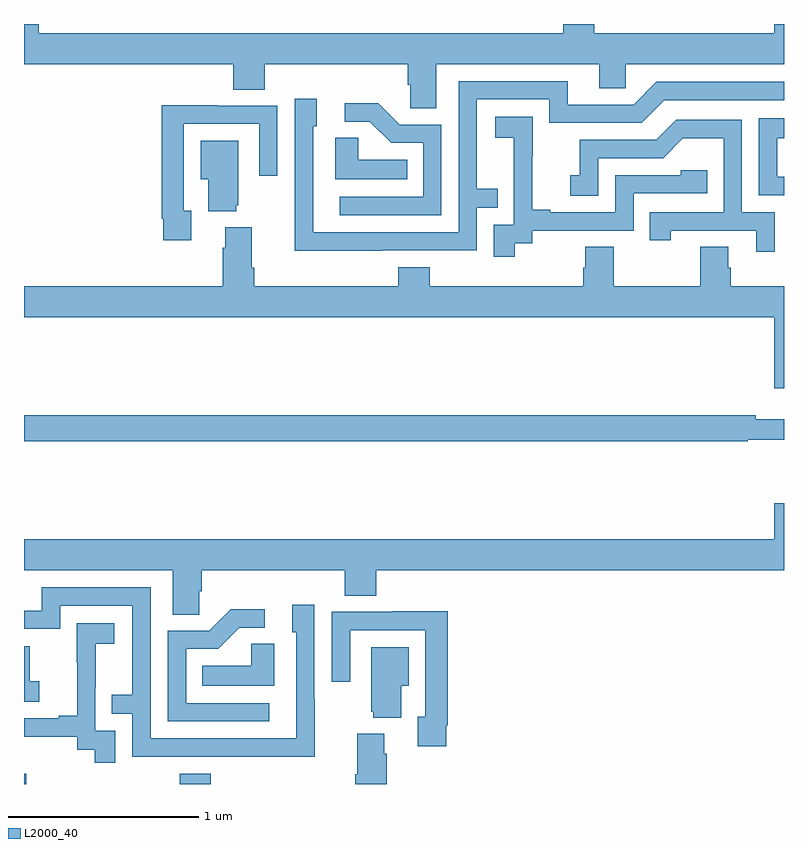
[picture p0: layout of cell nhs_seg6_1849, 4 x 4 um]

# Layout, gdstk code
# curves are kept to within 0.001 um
import gdstk
lib = gdstk.Library(unit=1e-6, precision=1e-09)
def R(c, l, rs):  # rectangles x0, y0, x1, y1
    for r in rs: c.add(gdstk.rectangle(r[:2], r[2:], *l))
def P(c, l, *ps):  # polygons
    for p in ps: c.add(gdstk.Polygon(p, *l))
L2000_40 = (2000, 40)

nhs_seg6_1849 = lib.new_cell('nhs_seg6_1849')
R(nhs_seg6_1849, L2000_40, [(221,991.5,221.012,991.554), (221.819,991.5,221.984,991.555)])
P(nhs_seg6_1849, L2000_40, [(225,995.5),(224.948,995.5),(224.948,995.452),(224.002,995.452),(224.002,995.5),(223.838,995.5),(223.838,995.452),(221.078,995.452),(221.078,995.5),(221,995.5),(221,995.288),(222.101,995.288),(222.101,995.155),(222.266,995.155),(222.266,995.288),(223.019,995.288),(223.019,995.179),(223.032,995.179),(223.032,995.056),(223.171,995.056),(223.171,995.288),(224.027,995.288),(224.027,995.161),(224.166,995.161),(224.166,995.288),(225,995.288)],
  [(222.887,994.308),(223.383,994.308),(223.383,994.533),(223.493,994.533),(223.493,994.634),(223.383,994.634),(223.383,995.103),(223.764,995.103),(223.764,994.98),(224.25,994.98),(224.37,995.1),(225,995.1),(225,995.196),(224.328,995.196),(224.208,995.076),(223.861,995.076),(223.861,995.199),(223.287,995.199),(223.287,994.404),(222.522,994.404),(222.522,994.962),(222.541,994.962),(222.541,995.107),(222.426,995.107),(222.426,994.613),(222.424,994.613),(222.424,994.307)],
  [(223.197,994.971),(222.978,994.971),(222.865,995.084),(222.687,995.084),(222.687,994.986),(222.821,994.986),(222.932,994.875),(223.101,994.875),(223.101,994.59),(222.663,994.59),(222.663,994.494),(223.197,994.494)],
  [(221.881,994.518),(221.841,994.518),(221.841,994.974),(222.237,994.974),(222.237,994.701),(222.333,994.701),(222.333,995.07),(222.017,995.07),(222.017,995.072),(221.725,995.072),(221.725,994.474),(221.733,994.474),(221.733,994.362),(221.881,994.362)],
  [(223.582,994.345),(223.674,994.345),(223.674,994.413),(224.208,994.413),(224.208,994.608),(224.597,994.608),(224.597,994.731),(224.457,994.731),(224.457,994.704),(224.112,994.704),(224.112,994.509),(223.771,994.509),(223.771,994.522),(223.676,994.522),(223.676,994.805),(223.677,994.805),(223.677,995.011),(223.479,995.011),(223.479,994.901),(223.577,994.901),(223.577,994.673),(223.578,994.673),(223.578,994.443),(223.473,994.443),(223.473,994.275),(223.582,994.275)],
  [(225,994.695),(224.965,994.695),(224.965,994.899),(225,994.899),(225,995.005),(224.868,995.005),(224.868,994.599),(225,994.599)],
  [(224.952,994.509),(224.778,994.509),(224.778,994.995),(224.432,994.995),(224.327,994.89),(223.924,994.89),(223.924,994.705),(223.875,994.705),(223.875,994.596),(224.022,994.596),(224.022,994.794),(224.364,994.794),(224.468,994.898),(224.682,994.898),(224.682,994.509),(224.293,994.509),(224.293,994.362),(224.404,994.362),(224.404,994.413),(224.855,994.413),(224.855,994.302),(224.952,994.302)],
  [(223.016,994.786),(222.759,994.786),(222.759,994.901),(222.638,994.901),(222.638,994.682),(223.016,994.682)],
  [(222.116,994.545),(222.127,994.545),(222.127,994.885),(221.93,994.885),(221.93,994.682),(221.969,994.682),(221.969,994.514),(222.116,994.514)],
  [(225,994.12),(224.72,994.12),(224.72,994.218),(224.707,994.218),(224.707,994.328),(224.56,994.328),(224.56,994.12),(224.103,994.12),(224.103,994.328),(223.955,994.328),(223.955,994.218),(223.943,994.218),(223.943,994.12),(223.136,994.12),(223.136,994.219),(222.971,994.219),(222.971,994.12),(222.212,994.12),(222.212,994.216),(222.199,994.216),(222.199,994.429),(222.059,994.429),(222.059,994.322),(222.047,994.322),(222.047,994.12),(221,994.12),(221,993.956),(224.948,993.956),(224.948,993.582),(225,993.582)],
  [(224.81,993.312),(225,993.312),(225,993.421),(224.852,993.421),(224.852,993.44),(221,993.44),(221,993.304),(224.81,993.304)],
  [(221.922,992.515),(221.936,992.515),(221.936,992.624),(222.689,992.624),(222.689,992.491),(222.854,992.491),(222.854,992.624),(225,992.624),(225,992.977),(224.948,992.977),(224.948,992.788),(221,992.788),(221,992.624),(221.783,992.624),(221.783,992.392),(221.922,992.392)],
  [(222.531,991.949),(222.528,991.949),(222.528,992.443),(222.413,992.443),(222.413,992.298),(222.432,992.298),(222.432,991.74),(221.667,991.74),(221.667,992.535),(221.093,992.535),(221.093,992.412),(221,992.412),(221,992.316),(221.19,992.316),(221.19,992.439),(221.571,992.439),(221.571,991.97),(221.461,991.97),(221.461,991.869),(221.571,991.869),(221.571,991.644),(222.067,991.644),(222.067,991.643),(222.531,991.643)],
  [(222.292,991.926),(221.853,991.926),(221.853,992.211),(222.022,992.211),(222.133,992.322),(222.268,992.322),(222.268,992.42),(222.089,992.42),(221.976,992.307),(221.757,992.307),(221.757,991.83),(222.292,991.83)],
  [(223.222,991.81),(223.229,991.81),(223.229,992.408),(222.937,992.408),(222.937,992.406),(222.621,992.406),(222.621,992.037),(222.717,992.037),(222.717,992.31),(223.113,992.31),(223.113,991.854),(223.073,991.854),(223.073,991.698),(223.222,991.698)],
  [(221.481,991.779),(221.376,991.779),(221.376,992.009),(221.378,992.009),(221.378,992.237),(221.476,992.237),(221.476,992.347),(221.278,992.347),(221.278,992.141),(221.279,992.141),(221.279,991.858),(221.183,991.858),(221.183,991.845),(221,991.845),(221,991.749),(221.28,991.749),(221.28,991.681),(221.373,991.681),(221.373,991.611),(221.481,991.611)],
  [(222.316,992.237),(222.195,992.237),(222.195,992.122),(221.938,992.122),(221.938,992.018),(222.316,992.018)],
  [(221.08,992.041),(221.031,992.041),(221.031,992.226),(221,992.226),(221,991.932),(221.08,991.932)],
  [(222.985,992.018),(223.024,992.018),(223.024,992.221),(222.827,992.221),(222.827,991.881),(222.839,991.881),(222.839,991.85),(222.985,991.85)],
  [(222.908,991.658),(222.895,991.658),(222.895,991.765),(222.755,991.765),(222.755,991.552),(222.743,991.552),(222.743,991.5),(222.908,991.5)])

lib.write_gds('nhs_seg6_1849.gds')
